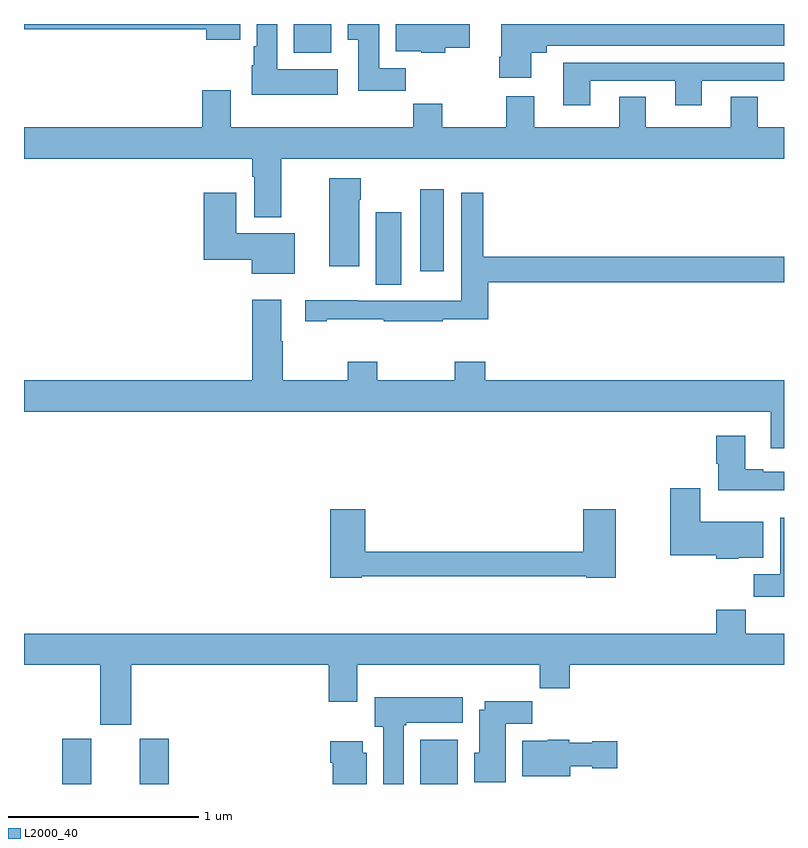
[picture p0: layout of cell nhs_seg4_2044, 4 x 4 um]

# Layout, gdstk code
import gdstk
lib = gdstk.Library(unit=1e-6, precision=1e-09)
def R(c, l, rs):  # rectangles x0, y0, x1, y1
    for r in rs: c.add(gdstk.rectangle(r[:2], r[2:], *l))
def P(c, l, *ps):  # polygons
    for p in ps: c.add(gdstk.Polygon(p, *l))
L2000_40 = (2000, 40)

nhs_seg4_2044 = lib.new_cell('nhs_seg4_2044')
R(nhs_seg4_2044, L2000_40, [(217.202,754.9,217.354,755.139), (217.61,754.9,217.763,755.139), (219.086,754.9,219.283,755.134), (218.852,757.528,218.986,757.909), (219.086,757.599,219.208,758.029), (218.421,758.75,218.617,758.9)])
P(nhs_seg4_2044, L2000_40, [(219.216,758.776),(219.346,758.776),(219.346,758.9),(218.957,758.9),(218.957,758.756),(219.09,758.756),(219.09,758.75),(219.216,758.75)],
  [(219.67,758.75),(219.751,758.75),(219.751,758.786),(221,758.786),(221,758.9),(219.512,758.9),(219.512,758.728),(219.5,758.728),(219.5,758.616),(219.67,758.616)],
  [(218.65,758.662),(218.332,758.662),(218.332,758.9),(218.225,758.9),(218.225,758.782),(218.21,758.782),(218.21,758.682),(218.198,758.682),(218.198,758.528),(218.65,758.528)],
  [(219.008,758.668),(218.869,758.668),(218.869,758.9),(218.705,758.9),(218.705,758.816),(218.759,758.816),(218.759,758.55),(219.008,758.55)],
  [(218.137,758.9),(217,758.9),(217,758.872),(217.958,758.872),(217.958,758.816),(218.137,758.816)],
  [(219.979,758.601),(220.427,758.601),(220.427,758.472),(220.567,758.472),(220.567,758.601),(221,758.601),(221,758.697),(219.839,758.697),(219.839,758.472),(219.979,758.472)],
  [(218.353,758.192),(221,758.192),(221,758.356),(220.861,758.356),(220.861,758.516),(220.721,758.516),(220.721,758.356),(220.273,758.356),(220.273,758.516),(220.133,758.516),(220.133,758.356),(219.685,758.356),(219.685,758.521),(219.538,758.521),(219.538,758.356),(219.201,758.356),(219.201,758.48),(219.049,758.48),(219.049,758.356),(218.089,758.356),(218.089,758.551),(217.937,758.551),(217.937,758.356),(217,758.356),(217,758.192),(218.201,758.192),(218.201,758.096),(218.213,758.096),(218.213,757.883),(218.353,757.883)],
  [(218.764,757.976),(218.772,757.976),(218.772,758.089),(218.606,758.089),(218.606,757.626),(218.764,757.626)],
  [(218.425,757.798),(218.116,757.798),(218.116,758.011),(217.946,758.011),(217.946,757.658),(218.198,757.658),(218.198,757.586),(218.425,757.586)],
  [(218.593,757.345),(218.893,757.345),(218.893,757.335),(219.203,757.335),(219.203,757.345),(219.443,757.345),(219.443,757.54),(221,757.54),(221,757.676),(219.416,757.676),(219.416,758.011),(219.3,758.011),(219.3,757.444),(219.09,757.444),(219.09,757.443),(218.756,757.443),(218.756,757.445),(218.481,757.445),(218.481,757.335),(218.593,757.335)],
  [(221,757.024),(219.428,757.024),(219.428,757.123),(219.268,757.123),(219.268,757.024),(218.859,757.024),(218.859,757.123),(218.704,757.123),(218.704,757.024),(218.361,757.024),(218.361,757.229),(218.353,757.229),(218.353,757.45),(218.201,757.45),(218.201,757.024),(217,757.024),(217,756.86),(220.931,756.86),(220.931,756.666),(221,756.666)],
  [(221,756.543),(220.891,756.543),(220.891,756.556),(220.795,756.556),(220.795,756.733),(220.643,756.733),(220.643,756.585),(220.655,756.585),(220.655,756.446),(221,756.446)],
  [(220.758,756.092),(220.891,756.092),(220.891,756.28),(220.558,756.28),(220.558,756.457),(220.4,756.457),(220.4,756.104),(220.644,756.104),(220.644,756.086),(220.758,756.086)],
  [(218.778,755.994),(219.96,755.994),(219.96,755.986),(220.114,755.986),(220.114,756.346),(219.944,756.346),(219.944,756.122),(218.795,756.122),(218.795,756.346),(218.612,756.346),(218.612,755.986),(218.778,755.986)],
  [(221,756.301),(220.979,756.301),(220.979,756.004),(220.84,756.004),(220.84,755.886),(221,755.886)],
  [(217,755.528),(217.4,755.528),(217.4,755.211),(217.564,755.211),(217.564,755.528),(218.603,755.528),(218.603,755.334),(218.755,755.334),(218.755,755.528),(219.715,755.528),(219.715,755.404),(219.872,755.404),(219.872,755.528),(221,755.528),(221,755.692),(220.799,755.692),(220.799,755.816),(220.643,755.816),(220.643,755.692),(217,755.692)],
  [(218.998,755.209),(219.012,755.209),(219.012,755.222),(219.31,755.222),(219.31,755.356),(218.846,755.356),(218.846,755.202),(218.891,755.202),(218.891,754.9),(218.998,754.9)],
  [(219.535,755.216),(219.674,755.216),(219.674,755.335),(219.425,755.335),(219.425,755.29),(219.395,755.29),(219.395,755.064),(219.371,755.064),(219.371,754.91),(219.535,754.91)],
  [(219.874,754.994),(219.99,754.994),(219.99,754.982),(220.123,754.982),(220.123,755.124),(219.99,755.124),(219.99,755.116),(219.87,755.116),(219.87,755.134),(219.756,755.134),(219.756,755.128),(219.623,755.128),(219.623,754.94),(219.874,754.94)],
  [(218.803,755.064),(218.782,755.064),(218.782,755.125),(218.612,755.125),(218.612,755.012),(218.624,755.012),(218.624,754.9),(218.803,754.9)])

lib.write_gds('nhs_seg4_2044.gds')
